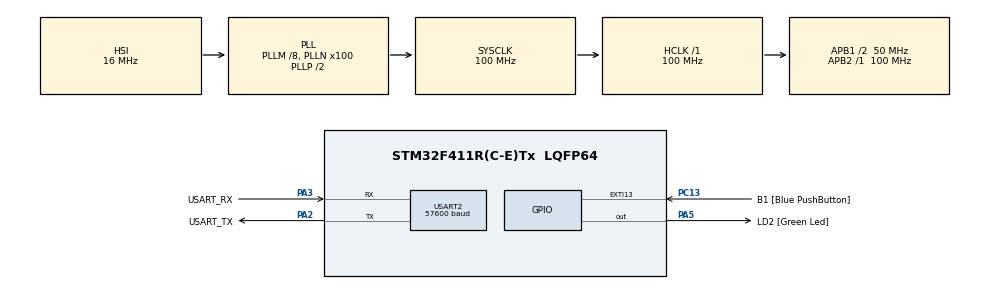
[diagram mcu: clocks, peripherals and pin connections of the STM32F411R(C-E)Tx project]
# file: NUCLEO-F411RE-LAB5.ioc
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Dma.Request0=USART2_RX
Dma.USART2_RX.0.Direction=DMA_PERIPH_TO_MEMORY
Dma.USART2_RX.0.FIFOMode=DMA_FIFOMODE_DISABLE
Dma.USART2_RX.0.Instance=DMA1_Stream5
Dma.USART2_RX.0.MemDataAlignment=DMA_MDATAALIGN_BYTE
Dma.USART2_RX.0.MemInc=DMA_MINC_ENABLE
Dma.USART2_RX.0.Mode=DMA_CIRCULAR
Dma.USART2_RX.0.PeriphDataAlignment=DMA_PDATAALIGN_BYTE
Dma.USART2_RX.0.PeriphInc=DMA_PINC_DISABLE
Dma.USART2_RX.0.Priority=DMA_PRIORITY_LOW
Mcu.Family=STM32F4
Mcu.Name=STM32F411R(C-E)Tx
Mcu.Package=LQFP64
NVIC.DMA1_Stream5_IRQn=true\:0\:0\:false\:false\:true\:false\:true\:true
NVIC.PriorityGroup=NVIC_PRIORITYGROUP_0
NVIC.USART2_IRQn=true\:0\:0\:false\:false\:true\:true\:true\:true
PA13.GPIO_Label=TMS
PA13.Mode=Serial_Wire
PA13.Signal=SYS_JTMS-SWDIO
PA14.GPIO_Label=TCK
PA14.Mode=Serial_Wire
PA14.Signal=SYS_JTCK-SWCLK
PA2.GPIO_Label=USART_TX
PA2.Mode=Asynchronous
PA2.Signal=USART2_TX
PA3.GPIO_Label=USART_RX
PA3.Mode=Asynchronous
PA3.Signal=USART2_RX
PA5.GPIO_Label=LD2 [Green Led]
PA5.Signal=GPIO_Output
PB3.GPIO_Label=SWO
PB3.Signal=SYS_JTDO-SWO
PC13-ANTI_TAMP.GPIO_Label=B1 [Blue PushButton]
PC13-ANTI_TAMP.GPIO_ModeDefaultEXTI=GPIO_MODE_IT_FALLING
PC13-ANTI_TAMP.Signal=GPXTI13
PC14-OSC32_IN.Mode=LSE-External-Oscillator
PC14-OSC32_IN.Signal=RCC_OSC32_IN
PC15-OSC32_OUT.Mode=LSE-External-Oscillator
PC15-OSC32_OUT.Signal=RCC_OSC32_OUT
PH0\ -\ OSC_IN.Mode=HSE-External-Clock-Source
PH0\ -\ OSC_IN.Signal=RCC_OSC_IN
PH1\ -\ OSC_OUT.Mode=HSE-External-Clock-Source
PH1\ -\ OSC_OUT.Signal=RCC_OSC_OUT
ProjectManager.HeapSize=0x200
ProjectManager.StackSize=0x400
ProjectManager.TargetToolchain=STM32CubeIDE
RCC.48MHZClocksFreq_Value=50000000
RCC.AHBFreq_Value=100000000
RCC.APB1CLKDivider=RCC_HCLK_DIV2
RCC.APB1Freq_Value=50000000
RCC.APB1TimFreq_Value=100000000
RCC.APB2Freq_Value=100000000
RCC.APB2TimFreq_Value=100000000
RCC.CortexFreq_Value=100000000
RCC.FLatency-AdvancedSettings=FLASH_LATENCY_3
RCC.HCLKFreq_Value=100000000
RCC.HSE_VALUE=8000000
RCC.HSI_VALUE=16000000
RCC.PLLM=8
RCC.PLLN=100
RCC.SYSCLKFreq_VALUE=100000000
RCC.SYSCLKSource=RCC_SYSCLKSOURCE_PLLCLK
RCC.VCOOutputFreq_Value=200000000
USART2.BaudRate=57600
USART2.VirtualMode=VM_ASYNC
board=NUCLEO-F411RE

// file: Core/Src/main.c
/* USER CODE BEGIN Header */
/**
  ******************************************************************************
  * @file           : main.c
  * @brief          : Main program body
  ******************************************************************************
  * @attention
  *
  * Copyright (c) 2023 STMicroelectronics.
  * All rights reserved.
  *
  * This software is licensed under terms that can be found in the LICENSE file
  * in the root directory of this software component.
  * If no LICENSE file comes with this software, it is provided AS-IS.
  *
  ******************************************************************************
  */
/* USER CODE END Header */
#include "main.h"

/* USER CODE BEGIN Includes */
#include "stdio.h"
#include "string.h"
/* USER CODE END Includes */

UART_HandleTypeDef huart2;
DMA_HandleTypeDef hdma_usart2_rx;

/* USER CODE BEGIN PV */
uint8_t TxBuffer[50];
uint8_t RxBuffer[10];
const uint8_t ClrBuffer[50] = {0};

uint8_t State = '\0';

GPIO_PinState LEDEnable = 1;
uint8_t LEDfreq = 1;

GPIO_PinState ButtonCurr = 1;
GPIO_PinState ButtonPrev = 0;

uint32_t BlinkTime;
uint32_t ButtonTime;

/* USER CODE END PV */

void SystemClock_Config(void);
static void MX_GPIO_Init(void);
static void MX_DMA_Init(void);
static void MX_USART2_UART_Init(void);
/* USER CODE BEGIN PFP */
void Menu(uint8_t num);
void LEDMenu(uint8_t Pos);
void ButtonMenu(uint8_t Pos);
/* USER CODE END PFP */

int main(void)
{

  /* MCU Configuration--------------------------------------------------------*/

  /* Reset of all peripherals, Initializes the Flash interface and the Systick. */
  HAL_Init();

  /* Configure the system clock */
  SystemClock_Config();

  /* Initialize all configured peripherals */
  MX_GPIO_Init();
  MX_DMA_Init();
  MX_USART2_UART_Init();
  /* USER CODE BEGIN 2 */
  HAL_UART_Receive_DMA(&huart2, RxBuffer, 10);
  /* USER CODE END 2 */

  /* Infinite loop */
  /* USER CODE BEGIN WHILE */

  BlinkTime = HAL_GetTick() + (500 / LEDfreq);
  ButtonTime = HAL_GetTick() + 20;
  uint8_t BufferPrevPos = ((2 * huart2.RxXferSize) - huart2.hdmarx->Instance->NDTR - 1) % huart2.RxXferSize;

  Menu(0);

  while (1)
  {
	  uint8_t BufferPos = ((2 * huart2.RxXferSize) - huart2.hdmarx->Instance->NDTR - 1) % huart2.RxXferSize;

	  if (BufferPos != BufferPrevPos) {
		  sprintf((char *) TxBuffer, "Receive Command: %c\r\n", RxBuffer[BufferPos]);
		  HAL_UART_Transmit(&huart2, TxBuffer, sizeof(TxBuffer), HAL_MAX_DELAY);
		  memcpy(TxBuffer, ClrBuffer, 50);
	  }

	  switch (State)
	  {
		case '0':
			LEDMenu(BufferPos);
			break;
		case '1':
			ButtonMenu(BufferPos);
			break;
		case 'x':
			Menu(0);
			RxBuffer[BufferPos] = '\0';
		default:
			State = RxBuffer[BufferPos];
			switch (State) {
			case '0':
				Menu(1);
				break;
			case '1':
				Menu(2);
				if (HAL_GPIO_ReadPin(B1_GPIO_Port, B1_Pin)) ButtonPrev = 0;
				else ButtonPrev = 1;
				break;
			case 'x':
				break;
			case '\0':
				break;
			default:
				Menu(3);
			}
	  }
	  RxBuffer[BufferPos] = '\0';
	  BufferPrevPos = BufferPos;

    /* USER CODE END WHILE */

    /* USER CODE BEGIN 3 */

	  if (HAL_GetTick() >= BlinkTime)
	  {
		  if (LEDEnable) HAL_GPIO_TogglePin(LD2_GPIO_Port, LD2_Pin);
		  BlinkTime += (500 / LEDfreq);
	  }

  }
  /* USER CODE END 3 */
}

void SystemClock_Config(void)
{
  RCC_OscInitTypeDef RCC_OscInitStruct = {0};
  RCC_ClkInitTypeDef RCC_ClkInitStruct = {0};

  /** Configure the main internal regulator output voltage
  */
  __HAL_RCC_PWR_CLK_ENABLE();
  __HAL_PWR_VOLTAGESCALING_CONFIG(PWR_REGULATOR_VOLTAGE_SCALE1);

  /** Initializes the RCC Oscillators according to the specified parameters
  * in the RCC_OscInitTypeDef structure.
  */
  RCC_OscInitStruct.OscillatorType = RCC_OSCILLATORTYPE_HSI;
  RCC_OscInitStruct.HSIState = RCC_HSI_ON;
  RCC_OscInitStruct.HSICalibrationValue = RCC_HSICALIBRATION_DEFAULT;
  RCC_OscInitStruct.PLL.PLLState = RCC_PLL_ON;
  RCC_OscInitStruct.PLL.PLLSource = RCC_PLLSOURCE_HSI;
  RCC_OscInitStruct.PLL.PLLM = 8;
  RCC_OscInitStruct.PLL.PLLN = 100;
  RCC_OscInitStruct.PLL.PLLP = RCC_PLLP_DIV2;
  RCC_OscInitStruct.PLL.PLLQ = 4;
  if (HAL_RCC_OscConfig(&RCC_OscInitStruct) != HAL_OK)
  {
    Error_Handler();
  }

  /** Initializes the CPU, AHB and APB buses clocks
  */
  RCC_ClkInitStruct.ClockType = RCC_CLOCKTYPE_HCLK|RCC_CLOCKTYPE_SYSCLK
                              |RCC_CLOCKTYPE_PCLK1|RCC_CLOCKTYPE_PCLK2;
  RCC_ClkInitStruct.SYSCLKSource = RCC_SYSCLKSOURCE_PLLCLK;
  RCC_ClkInitStruct.AHBCLKDivider = RCC_SYSCLK_DIV1;
  RCC_ClkInitStruct.APB1CLKDivider = RCC_HCLK_DIV2;
  RCC_ClkInitStruct.APB2CLKDivider = RCC_HCLK_DIV1;

  if (HAL_RCC_ClockConfig(&RCC_ClkInitStruct, FLASH_LATENCY_3) != HAL_OK)
  {
    Error_Handler();
  }
}

static void MX_USART2_UART_Init(void)
{

  huart2.Instance = USART2;
  huart2.Init.BaudRate = 57600;
  huart2.Init.WordLength = UART_WORDLENGTH_8B;
  huart2.Init.StopBits = UART_STOPBITS_1;
  huart2.Init.Parity = UART_PARITY_NONE;
  huart2.Init.Mode = UART_MODE_TX_RX;
  huart2.Init.HwFlowCtl = UART_HWCONTROL_NONE;
  huart2.Init.OverSampling = UART_OVERSAMPLING_16;
  if (HAL_UART_Init(&huart2) != HAL_OK)
  {
    Error_Handler();
  }

}

static void MX_DMA_Init(void)
{

  /* DMA controller clock enable */
  __HAL_RCC_DMA1_CLK_ENABLE();

  /* DMA interrupt init */
  /* DMA1_Stream5_IRQn interrupt configuration */
  HAL_NVIC_SetPriority(DMA1_Stream5_IRQn, 0, 0);
  HAL_NVIC_EnableIRQ(DMA1_Stream5_IRQn);

}

static void MX_GPIO_Init(void)
{
  GPIO_InitTypeDef GPIO_InitStruct = {0};

  /* GPIO Ports Clock Enable */
  __HAL_RCC_GPIOC_CLK_ENABLE();
  __HAL_RCC_GPIOH_CLK_ENABLE();
  __HAL_RCC_GPIOA_CLK_ENABLE();
  __HAL_RCC_GPIOB_CLK_ENABLE();

  /*Configure GPIO pin Output Level */
  HAL_GPIO_WritePin(LD2_GPIO_Port, LD2_Pin, GPIO_PIN_RESET);

  /*Configure GPIO pin : B1_Pin */
  GPIO_InitStruct.Pin = B1_Pin;
  GPIO_InitStruct.Mode = GPIO_MODE_IT_FALLING;
  GPIO_InitStruct.Pull = GPIO_NOPULL;
  HAL_GPIO_Init(B1_GPIO_Port, &GPIO_InitStruct);

  /*Configure GPIO pin : LD2_Pin */
  GPIO_InitStruct.Pin = LD2_Pin;
  GPIO_InitStruct.Mode = GPIO_MODE_OUTPUT_PP;
  GPIO_InitStruct.Pull = GPIO_NOPULL;
  GPIO_InitStruct.Speed = GPIO_SPEED_FREQ_LOW;
  HAL_GPIO_Init(LD2_GPIO_Port, &GPIO_InitStruct);

}

/* USER CODE BEGIN 4 */
void Menu(uint8_t num)
{
	if (num == 0)
	{
		HAL_UART_Transmit(&huart2, (uint8_t *) "\r\n--------------------------------------------------\r\n", strlen("\r\n--------------------------------------------------\r\n"), HAL_MAX_DELAY);
		HAL_UART_Transmit(&huart2, (uint8_t *) "Main Menu\r\n", strlen("Main Menu\r\n"), HAL_MAX_DELAY);
		HAL_UART_Transmit(&huart2, (uint8_t *) "Press 0 to Enter LED Control Mode\r\n", strlen("Press 0 to Enter LED Control Mode\r\n"), HAL_MAX_DELAY);
		HAL_UART_Transmit(&huart2, (uint8_t *) "Press 1 to Enter Button Status Mode\r\n", strlen("Press 1 to Enter Button Status Mode\r\n"), HAL_MAX_DELAY);
		HAL_UART_Transmit(&huart2, (uint8_t *) "--------------------------------------------------\n\r\n", strlen("--------------------------------------------------\n\r\n"), HAL_MAX_DELAY);
	}
	else if (num == 1)
	{
		HAL_UART_Transmit(&huart2, (uint8_t *) "\r\n--------------------------------------------------\r\n", strlen("\r\n--------------------------------------------------\r\n"), HAL_MAX_DELAY);
		HAL_UART_Transmit(&huart2, (uint8_t *) "LED Control Mode\r\n", strlen("LED Control Mode\r\n"), HAL_MAX_DELAY);
		HAL_UART_Transmit(&huart2, (uint8_t *) "Press a to Speed Up 1Hz\r\n", strlen("Press a to Speed Up 1Hz\r\n"), HAL_MAX_DELAY);
		HAL_UART_Transmit(&huart2, (uint8_t *) "Press s to Speed Down 1Hz\r\n", strlen("Press a to Speed Down 1Hz\r\n"), HAL_MAX_DELAY);
		HAL_UART_Transmit(&huart2, (uint8_t *) "Press d to Turn On/Off\r\n", strlen("Press d to Turn On/Off\r\n"), HAL_MAX_DELAY);
		HAL_UART_Transmit(&huart2, (uint8_t *) "Press x to Return To Menu\r\n", strlen("Press x to Return To Menu\r\n"), HAL_MAX_DELAY);
		HAL_UART_Transmit(&huart2, (uint8_t *) "--------------------------------------------------\n\r\n", strlen("--------------------------------------------------\n\r\n"), HAL_MAX_DELAY);
	}
	else if (num == 2)
	{
		HAL_UART_Transmit(&huart2, (uint8_t *) "\r\n--------------------------------------------------\r\n", strlen("\r\n--------------------------------------------------\r\n"), HAL_MAX_DELAY);
		HAL_UART_Transmit(&huart2, (uint8_t *) "Button Status Mode\r\n", strlen("Button Status Mode\r\n"), HAL_MAX_DELAY);
		HAL_UART_Transmit(&huart2, (uint8_t *) "Press Blue button and Observe Status\r\n", strlen("Press Blue button and Observe Status\r\n"), HAL_MAX_DELAY);
		HAL_UART_Transmit(&huart2, (uint8_t *) "Press x to Return To Menu\r\n", strlen("Press x to Return To Menu\r\n"), HAL_MAX_DELAY);
		HAL_UART_Transmit(&huart2, (uint8_t *) "--------------------------------------------------\n\r\n", strlen("\r\n--------------------------------------------------\n\r\n"), HAL_MAX_DELAY);
	}
	else if (num == 3)
	{
		HAL_UART_Transmit(&huart2, (uint8_t *) "Error Command\r\n", strlen("Error Command\r\n"), HAL_MAX_DELAY);
	}
}

void LEDMenu(uint8_t Pos)
{
	switch(RxBuffer[Pos]) {
	case 'a':
		LEDEnable = 1;
		if (LEDfreq < 255) LEDfreq += 1;
		else {
			HAL_UART_Transmit(&huart2, (uint8_t *) "Warnning Reach Frequency Limit\r\n", strlen("Warnning Reach Frequency Limit\r\n"), HAL_MAX_DELAY);
		}
		sprintf((char *) TxBuffer, "LED Blink Rate: %d Hz\r\n", LEDfreq);
		HAL_UART_Transmit(&huart2, TxBuffer, sizeof(TxBuffer), HAL_MAX_DELAY);
		memcpy(TxBuffer, ClrBuffer, 50);
		break;
	case 's':
		LEDEnable = 1;
		if (LEDfreq > 1) LEDfreq -= 1;
		else {
			HAL_UART_Transmit(&huart2, (uint8_t *) "Warnning Reach Frequency Limit\r\n", strlen("Warnning Reach Frequency Limit\r\n"), HAL_MAX_DELAY);
		}
		sprintf((char *) TxBuffer, "LED Blink Rate: %d Hz\r\n", LEDfreq);
		HAL_UART_Transmit(&huart2, TxBuffer, sizeof(TxBuffer), HAL_MAX_DELAY);
		memcpy(TxBuffer, ClrBuffer, 50);
		break;
	case 'd':
		LEDEnable = 0;
		HAL_GPIO_TogglePin(LD2_GPIO_Port, LD2_Pin);
		if (HAL_GPIO_ReadPin(LD2_GPIO_Port, LD2_Pin) == 1) HAL_UART_Transmit(&huart2, (uint8_t *) "LED Status: On\r\n", strlen("LED Status: On\r\n"), HAL_MAX_DELAY);
		else HAL_UART_Transmit(&huart2, (uint8_t *) "LED Status: Off\r\n", strlen("LED Status: Off\r\n"), HAL_MAX_DELAY);
		break;
	case 'x':
		State = 'x';
		break;
	case '\0':
		break;
	default:
		Menu(3);
	}
}

void ButtonMenu(uint8_t Pos)
{
	switch(RxBuffer[Pos]) {
	case 'x':
		State = 'x';
		break;
	case '\0':
		if (HAL_GetTick() >= ButtonTime) {
			ButtonCurr = HAL_GPIO_ReadPin(B1_GPIO_Port, B1_Pin);
			if (!ButtonCurr && ButtonPrev) HAL_UART_Transmit(&huart2, (uint8_t *) "Button Press\r\n", strlen("Button Press\r\n"), HAL_MAX_DELAY);
			else if (ButtonCurr && !ButtonPrev) HAL_UART_Transmit(&huart2, (uint8_t *) "Button UnPress\r\n", strlen("Button UnPress\r\n"), HAL_MAX_DELAY);
			ButtonPrev = ButtonCurr;
			ButtonTime += 20;
		}
		break;
	default:
		Menu(3);
	}
}
/* USER CODE END 4 */

void Error_Handler(void)
{
  __disable_irq();
  while (1)
  {
  }
}
